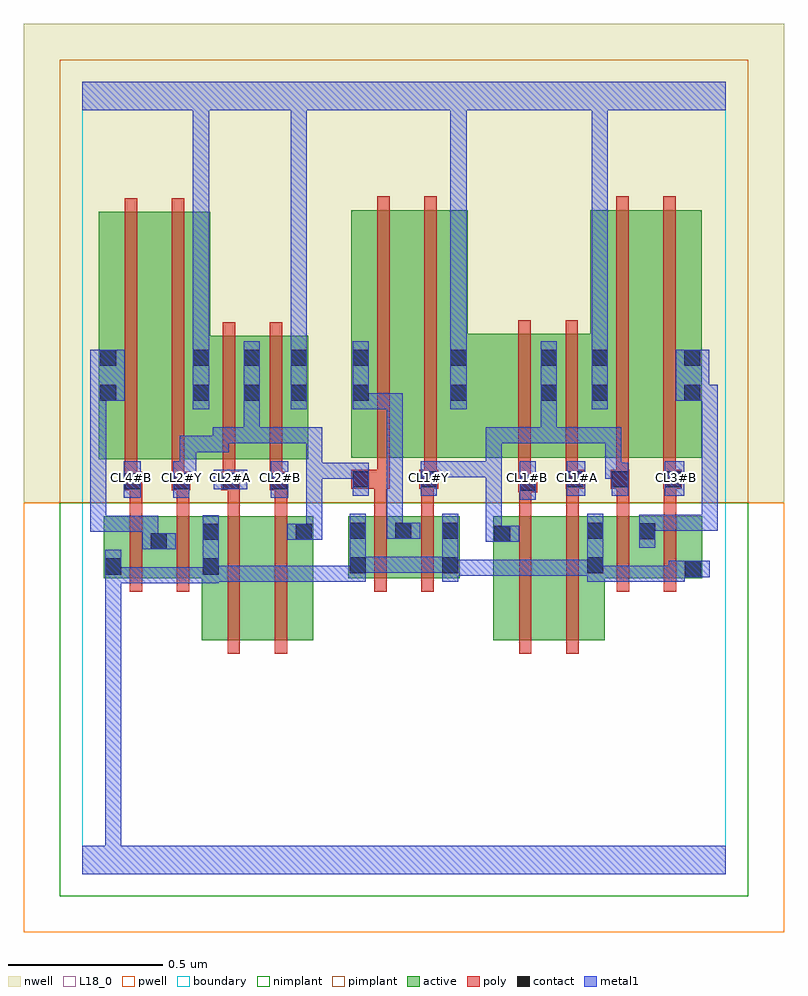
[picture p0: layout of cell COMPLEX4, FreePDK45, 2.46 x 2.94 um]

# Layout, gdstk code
import gdstk
lib = gdstk.Library(unit=1e-6, precision=1e-09)
def R(c, l, rs):  # rectangles x0, y0, x1, y1
    for r in rs: c.add(gdstk.rectangle(r[:2], r[2:], *l))
def A(c, l, x, y, w, h, nx, ny, dx, dy):  # array of equal rectangles
    R(c, l, [(x+i*dx, y+j*dy, x+i*dx+w, y+j*dy+h) for i in range(nx) for j in range(ny)])
active = (1, 0)
pwell = (2, 0)
nwell = (3, 0)
nimplant = (4, 0)
pimplant = (5, 0)
poly = (9, 0)
contact = (10, 0)
metal1 = (11, 0)
L18_0 = (18, 0)
boundary = (235, 0)

complex4 = lib.new_cell('COMPLEX4')
R(complex4, active, [(0.386,0.756,0.566,1.156), (0.566,0.756,0.746,1.156), (0.686,0.756,0.746,1.156), (1.328,0.756,1.508,1.156), (1.328,0.756,1.388,1.156), (1.508,0.756,1.688,1.156), (1.628,0.772,1.688,1.156), (0.386,0.776,0.446,1.136), (0.07,0.956,0.13,1.156), (0.07,0.956,0.278,1.156), (0.218,0.956,0.446,1.156), (0.218,0.956,0.278,1.106), (0.86,0.956,0.92,1.156), (0.86,0.956,1.068,1.156), (1.008,0.956,1.22,1.156), (1.008,0.956,1.068,1.14), (1.16,0.956,1.22,1.156), (1.628,0.956,1.856,1.156), (1.796,0.956,2.004,1.156), (1.796,0.956,1.856,1.138), (1.944,0.956,2.004,1.156), (0.054,1.34,0.234,2.14), (0.054,1.34,0.114,2.044), (0.234,1.34,0.414,2.14), (0.354,1.34,0.578,1.74), (0.354,1.34,0.414,1.892), (0.518,1.34,0.73,1.74), (0.518,1.34,0.578,1.72), (0.67,1.34,0.73,1.74), (0.87,1.346,0.93,2.044), (0.87,1.346,1.05,2.146), (1.05,1.346,1.246,2.146), (1.186,1.346,1.538,1.746), (1.478,1.346,1.702,1.746), (1.642,1.346,1.822,2.146), (1.822,1.346,2.002,2.146), (1.942,1.346,2.002,2.044), (1.478,1.388,1.538,1.698), (1.186,1.416,1.246,1.806), (1.642,1.498,1.702,1.698)])
R(complex4, pwell, [(-0.188,-0.188,2.268,1.2)])
R(complex4, nwell, [(-0.188,1.2,2.268,2.748)])
R(complex4, nimplant, [(-0.072,-0.072,2.152,1.2)])
R(complex4, pimplant, [(-0.072,1.2,2.152,2.632)])
R(complex4, poly, [(0.47,0.712,0.51,1.2), (0.622,0.712,0.662,1.2), (1.412,0.712,1.452,1.2), (1.564,0.712,1.604,1.2), (0.154,0.912,0.194,1.2), (0.306,0.912,0.346,1.2), (0.944,0.912,0.984,1.2), (1.096,0.912,1.136,1.2), (1.728,0.912,1.768,1.2), (1.88,0.912,1.92,1.2), (0.154,1.16,0.194,1.28), (0.306,1.16,0.346,1.28), (0.47,1.16,0.51,1.28), (0.622,1.16,0.662,1.28), (0.944,1.16,0.984,1.286), (1.096,1.16,1.136,1.286), (1.412,1.16,1.452,1.274), (1.564,1.16,1.604,1.286), (1.728,1.16,1.768,1.286), (1.88,1.16,1.92,1.286), (1.41,1.234,1.47,1.294), (0.134,1.24,0.194,1.3), (0.154,1.24,0.194,1.28), (0.154,1.24,0.194,1.28), (0.29,1.24,0.35,1.3), (0.306,1.24,0.346,1.28), (0.306,1.24,0.346,1.28), (0.45,1.24,0.51,1.3), (0.606,1.24,0.666,1.3), (0.87,1.246,0.994,1.306), (0.944,1.246,0.984,1.286), (0.944,1.246,0.984,1.286), (1.09,1.246,1.15,1.306), (1.096,1.246,1.136,1.286), (1.096,1.246,1.136,1.286), (1.562,1.246,1.622,1.306), (1.708,1.246,1.768,1.306), (1.728,1.246,1.768,1.286), (1.728,1.246,1.768,1.286), (1.878,1.246,1.938,1.306), (1.41,1.254,1.45,1.294), (1.41,1.254,1.45,1.294), (1.41,1.254,1.45,1.342), (0.138,1.26,0.178,1.336), (0.29,1.26,0.33,1.336), (0.454,1.26,0.494,1.336), (0.454,1.26,0.494,1.3), (0.454,1.26,0.494,1.3), (0.606,1.26,0.646,1.336), (0.606,1.26,0.646,1.3), (0.606,1.26,0.646,1.3), (0.954,1.266,0.994,1.342), (1.106,1.266,1.146,1.342), (1.562,1.266,1.602,1.342), (1.562,1.266,1.602,1.306), (1.562,1.266,1.602,1.306), (1.726,1.266,1.766,1.342), (1.878,1.266,1.918,1.342), (1.878,1.266,1.918,1.306), (1.878,1.266,1.918,1.306), (0.138,1.296,0.178,2.184), (0.29,1.296,0.33,2.184), (0.454,1.296,0.494,1.784), (0.606,1.296,0.646,1.784), (0.954,1.302,0.994,2.19), (1.106,1.302,1.146,2.19), (1.41,1.302,1.45,1.79), (1.562,1.302,1.602,1.79), (1.726,1.302,1.766,2.19), (1.878,1.302,1.918,2.19)])
R(complex4, contact, [(1.948,0.96,2,1.012), (0.074,0.968,0.126,1.02), (0.39,0.968,0.442,1.02), (0.864,0.972,0.916,1.024), (1.164,0.972,1.216,1.024), (1.632,0.972,1.684,1.024), (0.222,1.05,0.274,1.102), (1.332,1.074,1.384,1.126), (0.39,1.08,0.442,1.132), (0.69,1.08,0.742,1.132), (1.8,1.082,1.852,1.134), (0.864,1.084,0.916,1.136), (1.012,1.084,1.064,1.136), (1.164,1.084,1.216,1.136), (1.632,1.084,1.684,1.136), (1.414,1.238,1.466,1.29), (0.138,1.244,0.19,1.296), (0.294,1.244,0.346,1.296), (0.454,1.244,0.506,1.296), (0.61,1.244,0.662,1.296), (0.874,1.25,0.926,1.302), (1.094,1.25,1.146,1.302), (1.566,1.25,1.618,1.302), (1.712,1.25,1.764,1.302), (1.882,1.25,1.934,1.302), (0.058,1.53,0.11,1.582), (0.358,1.53,0.41,1.582), (0.522,1.53,0.574,1.582), (0.674,1.53,0.726,1.582), (0.874,1.53,0.926,1.582), (1.19,1.53,1.242,1.582), (1.482,1.53,1.534,1.582), (1.646,1.53,1.698,1.582), (1.946,1.53,1.998,1.582), (0.058,1.642,0.11,1.694), (0.358,1.642,0.41,1.694), (0.522,1.642,0.574,1.694), (0.674,1.642,0.726,1.694), (0.874,1.642,0.926,1.694), (1.19,1.642,1.242,1.694), (1.482,1.642,1.534,1.694), (1.646,1.642,1.698,1.694), (1.946,1.642,1.998,1.694)])
R(complex4, metal1, [(0,0,2.08,0.092), (0.074,0.04,0.126,0.092), (0.074,0.04,0.126,0.092), (0.074,0.04,0.126,0.092), (0.074,0.04,0.126,0.092), (0.074,0.04,0.126,0.092), (0.074,0.04,0.126,0.092), (0.074,0.04,0.126,0.092), (0.074,0.04,0.126,0.092), (0.074,0.04,0.126,0.092), (0.074,0.04,0.126,0.092), (0.074,0.04,0.126,0.092), (0.074,0.04,0.126,0.092), (0.074,0.04,0.126,0.092), (0.074,0.04,0.126,0.092), (0.074,0.04,0.126,0.092), (0.074,0.04,0.126,0.092), (0.074,0.04,0.126,0.992), (0.074,0.94,0.126,0.992), (0.074,0.94,0.126,0.992), (0.074,0.94,0.126,1.048), (0.074,0.94,0.258,0.992), (0.206,0.94,0.258,0.992), (0.206,0.94,0.258,0.992), (0.206,0.94,0.258,0.992), (0.206,0.94,0.442,0.992), (0.39,0.94,0.442,1.16), (0.39,0.944,0.456,0.996), (0.404,0.944,0.456,0.996), (0.404,0.944,0.604,0.996), (0.552,0.944,0.604,0.996), (0.552,0.944,0.714,0.996), (0.662,0.944,0.714,0.996), (0.662,0.944,0.714,0.996), (0.662,0.944,0.714,0.996), (0.662,0.944,0.916,0.996), (0.864,0.944,0.916,1.164), (1.164,0.944,1.216,1.164), (1.632,0.944,1.684,0.996), (1.632,0.944,1.684,0.996), (1.632,0.944,1.684,0.996), (1.632,0.944,1.684,0.996), (1.632,0.944,1.86,0.996), (1.632,0.944,1.684,1.164), (1.808,0.944,1.86,0.996), (1.808,0.944,1.948,0.996), (1.896,0.944,1.948,1.012), (1.896,0.96,1.972,1.012), (1.92,0.96,2.028,1.012), (1.164,0.964,1.424,1.016), (1.372,0.964,1.424,1.016), (1.372,0.964,1.424,1.016), (1.372,0.964,1.424,1.016), (1.372,0.964,1.574,1.016), (1.522,0.964,1.574,1.016), (1.522,0.964,1.574,1.016), (1.522,0.964,1.574,1.016), (1.522,0.964,1.574,1.016), (1.522,0.964,1.574,1.016), (1.522,0.964,1.684,1.016), (0.864,0.974,0.916,1.026), (0.864,0.974,0.916,1.026), (0.864,0.974,1.036,1.026), (0.984,0.974,1.036,1.026), (0.984,0.974,1.216,1.026), (1.164,0.974,1.216,1.026), (1.164,0.974,1.216,1.026), (0.194,1.05,0.302,1.102), (0.194,1.05,0.246,1.158), (1.8,1.054,1.852,1.162), (1.304,1.074,1.412,1.126), (1.304,1.074,1.356,1.334), (0.662,1.08,0.776,1.132), (0.724,1.08,0.776,1.33), (0.984,1.084,1.036,1.136), (0.984,1.084,1.036,1.136), (0.984,1.084,1.092,1.136), (0.984,1.084,1.036,1.554), (0.026,1.106,0.078,1.158), (0.026,1.106,0.078,1.158), (0.026,1.106,0.078,1.158), (0.026,1.106,0.246,1.158), (0.026,1.106,0.078,1.582), (0.194,1.106,0.246,1.158), (1.8,1.11,2.054,1.162), (2.002,1.11,2.054,1.162), (2.002,1.11,2.054,1.162), (2.002,1.11,2.054,1.162), (2.002,1.11,2.054,1.162), (2.002,1.11,2.054,1.162), (2.002,1.11,2.054,1.582), (1.414,1.21,1.466,1.334), (0.134,1.216,0.19,1.334), (0.294,1.216,0.346,1.334), (0.61,1.216,0.666,1.334), (0.874,1.222,0.926,1.33), (1.094,1.222,1.146,1.334), (1.566,1.222,1.626,1.334), (1.712,1.222,1.764,1.33), (1.882,1.222,1.946,1.334), (0.426,1.244,0.534,1.306), (0.724,1.278,0.776,1.33), (0.724,1.278,0.776,1.33), (0.724,1.278,0.776,1.444), (0.724,1.278,0.926,1.33), (0.874,1.278,0.926,1.33), (0.874,1.278,0.926,1.33), (1.69,1.278,1.764,1.33), (1.69,1.278,1.742,1.444), (0.294,1.282,0.368,1.334), (0.316,1.282,0.368,1.416), (1.094,1.282,1.146,1.334), (1.094,1.282,1.146,1.334), (1.094,1.282,1.356,1.334), (1.304,1.282,1.356,1.334), (1.304,1.282,1.356,1.334), (1.304,1.282,1.356,1.444), (0.316,1.364,0.474,1.416), (0.422,1.364,0.474,1.444), (0.422,1.392,0.574,1.444), (0.522,1.392,0.574,1.444), (0.522,1.392,0.776,1.444), (0.522,1.392,0.574,1.554), (0.724,1.392,0.776,1.444), (0.724,1.392,0.776,1.444), (1.304,1.392,1.356,1.444), (1.304,1.392,1.356,1.444), (1.304,1.392,1.534,1.444), (1.482,1.392,1.534,1.444), (1.482,1.392,1.534,1.444), (1.482,1.392,1.534,1.444), (1.482,1.392,1.742,1.444), (1.482,1.392,1.534,1.554), (0.358,1.502,0.41,1.722), (0.522,1.502,0.574,1.722), (0.674,1.502,0.726,1.722), (0.874,1.502,0.926,1.554), (0.874,1.502,0.926,1.554), (0.874,1.502,0.926,1.722), (0.874,1.502,1.036,1.554), (0.984,1.502,1.036,1.554), (0.984,1.502,1.036,1.554), (0.984,1.502,1.036,1.554), (1.19,1.502,1.242,1.722), (1.482,1.502,1.534,1.722), (1.646,1.502,1.698,1.722), (0.026,1.53,0.078,1.582), (0.026,1.53,0.078,1.582), (0.026,1.53,0.138,1.694), (1.918,1.53,2.026,1.694), (1.974,1.53,2.026,1.582), (1.974,1.53,2.054,1.582), (0.358,1.67,0.41,1.722), (0.358,1.67,0.41,1.722), (0.358,1.67,0.41,2.52), (0.674,1.67,0.726,2.52), (1.19,1.67,1.242,1.722), (1.19,1.67,1.242,1.722), (1.19,1.67,1.242,1.722), (1.19,1.67,1.242,1.722), (1.19,1.67,1.242,2.52), (1.646,1.67,1.698,2.52), (0,2.468,2.08,2.56), (0.358,2.468,0.41,2.52), (0.358,2.468,0.41,2.52), (0.358,2.468,0.41,2.52), (0.358,2.468,0.41,2.52), (0.358,2.468,0.41,2.52), (0.358,2.468,0.41,2.52), (0.674,2.468,0.726,2.52), (0.674,2.468,0.726,2.52), (0.674,2.468,0.726,2.52), (0.674,2.468,0.726,2.52), (0.674,2.468,0.726,2.52), (0.674,2.468,0.726,2.52), (0.674,2.468,0.726,2.52), (0.674,2.468,0.726,2.52), (0.674,2.468,0.726,2.52), (0.674,2.468,0.726,2.52), (0.674,2.468,0.726,2.52), (0.674,2.468,0.726,2.52), (0.674,2.468,0.726,2.52), (0.674,2.468,0.726,2.52), (0.674,2.468,0.726,2.52), (0.674,2.468,0.726,2.52), (1.19,2.468,1.242,2.52), (1.19,2.468,1.242,2.52), (1.19,2.468,1.242,2.52), (1.19,2.468,1.242,2.52), (1.646,2.468,1.698,2.52), (1.646,2.468,1.698,2.52), (1.646,2.468,1.698,2.52), (1.646,2.468,1.698,2.52), (1.646,2.468,1.698,2.52), (1.646,2.468,1.698,2.52), (1.646,2.468,1.698,2.52), (1.646,2.468,1.698,2.52)])
A(complex4, L18_0, 0.134, 1.254, 0.052, 0.052, 4, 1, 0.16, 0)
R(complex4, L18_0, [(0,0,2.08,0.092), (0.074,0.04,0.126,0.092), (0.074,0.04,0.126,0.092), (0.074,0.04,0.126,0.092), (0.074,0.04,0.126,0.092), (0.074,0.04,0.126,0.092), (0.074,0.04,0.126,0.092), (0.074,0.04,0.126,0.092), (0.074,0.04,0.126,0.092), (0.074,0.04,0.126,0.092), (0.074,0.04,0.126,0.092), (0.074,0.04,0.126,0.092), (0.074,0.04,0.126,0.092), (0.074,0.04,0.126,0.092), (0.074,0.04,0.126,0.092), (0.074,0.04,0.126,0.092), (0.074,0.04,0.126,0.092), (0.074,0.04,0.126,0.992), (0.074,0.94,0.126,0.992), (0.074,0.94,0.126,0.992), (0.074,0.94,0.126,1.048), (0.074,0.94,0.258,0.992), (0.206,0.94,0.258,0.992), (0.206,0.94,0.258,0.992), (0.206,0.94,0.258,0.992), (0.206,0.94,0.442,0.992), (0.39,0.94,0.442,1.16), (0.39,0.944,0.456,0.996), (0.404,0.944,0.456,0.996), (0.404,0.944,0.604,0.996), (0.552,0.944,0.604,0.996), (0.552,0.944,0.714,0.996), (0.662,0.944,0.714,0.996), (0.662,0.944,0.714,0.996), (0.662,0.944,0.714,0.996), (0.662,0.944,0.916,0.996), (0.864,0.944,0.916,1.164), (1.164,0.944,1.216,1.164), (1.632,0.944,1.684,0.996), (1.632,0.944,1.684,0.996), (1.632,0.944,1.684,0.996), (1.632,0.944,1.684,0.996), (1.632,0.944,1.684,1.164), (1.632,0.944,1.86,0.996), (1.808,0.944,1.86,0.996), (1.808,0.944,1.948,0.996), (1.896,0.944,1.948,1.012), (1.896,0.96,1.972,1.012), (1.92,0.96,2.028,1.012), (1.164,0.964,1.424,1.016), (1.372,0.964,1.424,1.016), (1.372,0.964,1.424,1.016), (1.372,0.964,1.424,1.016), (1.372,0.964,1.574,1.016), (1.522,0.964,1.574,1.016), (1.522,0.964,1.574,1.016), (1.522,0.964,1.574,1.016), (1.522,0.964,1.574,1.016), (1.522,0.964,1.574,1.016), (1.522,0.964,1.684,1.016), (0.864,0.974,0.916,1.026), (0.864,0.974,0.916,1.026), (0.864,0.974,1.036,1.026), (0.984,0.974,1.036,1.026), (0.984,0.974,1.216,1.026), (1.164,0.974,1.216,1.026), (1.164,0.974,1.216,1.026), (1.304,1.074,1.412,1.126), (1.304,1.074,1.356,1.334), (0.662,1.08,0.776,1.132), (0.724,1.08,0.776,1.33), (1.414,1.21,1.466,1.334), (0.134,1.216,0.19,1.334), (0.294,1.216,0.346,1.334), (0.61,1.216,0.666,1.334), (0.874,1.222,0.926,1.33), (1.094,1.222,1.146,1.334), (1.566,1.222,1.626,1.334), (1.712,1.222,1.764,1.33), (1.882,1.222,1.946,1.334), (0.426,1.244,0.534,1.306), (1.094,1.254,1.146,1.306), (1.414,1.254,1.466,1.306), (1.574,1.254,1.626,1.306), (1.894,1.254,1.946,1.306), (0.724,1.278,0.776,1.33), (0.724,1.278,0.776,1.33), (0.724,1.278,0.776,1.444), (0.724,1.278,0.926,1.33), (0.874,1.278,0.926,1.33), (0.874,1.278,0.926,1.33), (1.69,1.278,1.764,1.33), (1.69,1.278,1.742,1.444), (0.294,1.282,0.368,1.334), (0.316,1.282,0.368,1.416), (1.094,1.282,1.146,1.334), (1.094,1.282,1.146,1.334), (1.094,1.282,1.356,1.334), (1.304,1.282,1.356,1.334), (1.304,1.282,1.356,1.334), (1.304,1.282,1.356,1.444), (0.316,1.364,0.474,1.416), (0.422,1.364,0.474,1.444), (0.422,1.392,0.574,1.444), (0.522,1.392,0.574,1.444), (0.522,1.392,0.574,1.554), (0.522,1.392,0.776,1.444), (0.724,1.392,0.776,1.444), (0.724,1.392,0.776,1.444), (1.304,1.392,1.356,1.444), (1.304,1.392,1.356,1.444), (1.304,1.392,1.534,1.444), (1.482,1.392,1.534,1.444), (1.482,1.392,1.534,1.444), (1.482,1.392,1.534,1.444), (1.482,1.392,1.534,1.554), (1.482,1.392,1.742,1.444), (0.358,1.502,0.41,1.722), (0.522,1.502,0.574,1.722), (0.674,1.502,0.726,1.722), (1.19,1.502,1.242,1.722), (1.482,1.502,1.534,1.722), (1.646,1.502,1.698,1.722), (0.358,1.67,0.41,1.722), (0.358,1.67,0.41,1.722), (0.358,1.67,0.41,2.52), (0.674,1.67,0.726,2.52), (1.19,1.67,1.242,1.722), (1.19,1.67,1.242,1.722), (1.19,1.67,1.242,1.722), (1.19,1.67,1.242,1.722), (1.19,1.67,1.242,2.52), (1.646,1.67,1.698,2.52), (0,2.468,2.08,2.56), (0.358,2.468,0.41,2.52), (0.358,2.468,0.41,2.52), (0.358,2.468,0.41,2.52), (0.358,2.468,0.41,2.52), (0.358,2.468,0.41,2.52), (0.358,2.468,0.41,2.52), (0.674,2.468,0.726,2.52), (0.674,2.468,0.726,2.52), (0.674,2.468,0.726,2.52), (0.674,2.468,0.726,2.52), (0.674,2.468,0.726,2.52), (0.674,2.468,0.726,2.52), (0.674,2.468,0.726,2.52), (0.674,2.468,0.726,2.52), (0.674,2.468,0.726,2.52), (0.674,2.468,0.726,2.52), (0.674,2.468,0.726,2.52), (0.674,2.468,0.726,2.52), (0.674,2.468,0.726,2.52), (0.674,2.468,0.726,2.52), (0.674,2.468,0.726,2.52), (0.674,2.468,0.726,2.52), (1.19,2.468,1.242,2.52), (1.19,2.468,1.242,2.52), (1.19,2.468,1.242,2.52), (1.19,2.468,1.242,2.52), (1.646,2.468,1.698,2.52), (1.646,2.468,1.698,2.52), (1.646,2.468,1.698,2.52), (1.646,2.468,1.698,2.52), (1.646,2.468,1.698,2.52), (1.646,2.468,1.698,2.52), (1.646,2.468,1.698,2.52), (1.646,2.468,1.698,2.52)])
R(complex4, boundary, [(0,0,2.08,2.56)])
complex4.add(gdstk.Label('CL1#A', (1.6,1.28), layer=11, texttype=0))
complex4.add(gdstk.Label('CL1#B', (1.44,1.28), layer=11, texttype=0))
complex4.add(gdstk.Label('CL1#Y', (1.12,1.28), layer=11, texttype=0))
complex4.add(gdstk.Label('CL2#A', (0.48,1.28), layer=11, texttype=0))
complex4.add(gdstk.Label('CL2#B', (0.64,1.28), layer=11, texttype=0))
complex4.add(gdstk.Label('CL2#Y', (0.32,1.28), layer=11, texttype=0))
complex4.add(gdstk.Label('CL3#B', (1.92,1.28), layer=11, texttype=0))
complex4.add(gdstk.Label('CL4#B', (0.16,1.28), layer=11, texttype=0))

lib.write_gds('COMPLEX4.gds')
